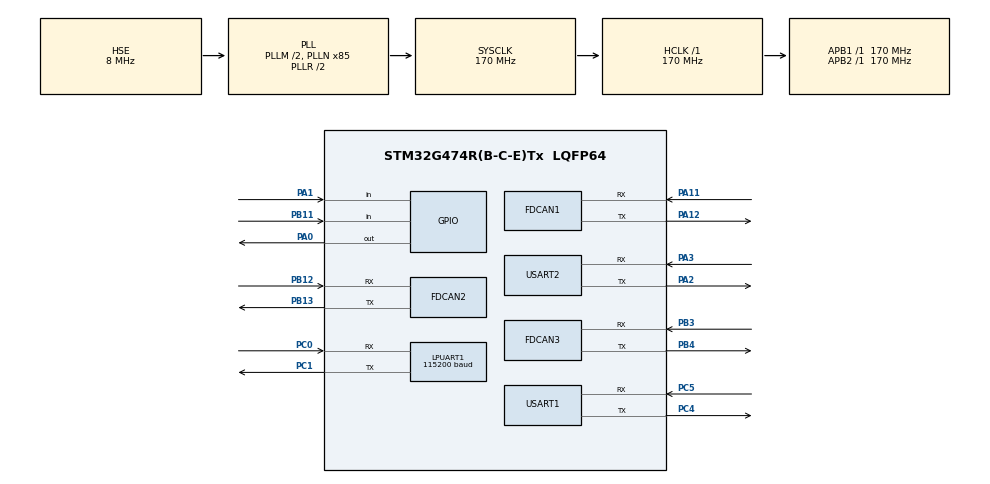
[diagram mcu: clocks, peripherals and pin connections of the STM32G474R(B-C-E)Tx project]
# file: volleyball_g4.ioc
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Dma.Request0=USART2_TX
Dma.Request1=USART2_RX
Dma.USART2_RX.1.Direction=DMA_PERIPH_TO_MEMORY
Dma.USART2_RX.1.EventEnable=DISABLE
Dma.USART2_RX.1.Instance=DMA1_Channel1
Dma.USART2_RX.1.MemDataAlignment=DMA_MDATAALIGN_BYTE
Dma.USART2_RX.1.MemInc=DMA_MINC_ENABLE
Dma.USART2_RX.1.Mode=DMA_NORMAL
Dma.USART2_RX.1.PeriphDataAlignment=DMA_PDATAALIGN_BYTE
Dma.USART2_RX.1.PeriphInc=DMA_PINC_DISABLE
Dma.USART2_RX.1.Polarity=HAL_DMAMUX_REQ_GEN_RISING
Dma.USART2_RX.1.Priority=DMA_PRIORITY_LOW
Dma.USART2_RX.1.RequestNumber=1
Dma.USART2_RX.1.SignalID=NONE
Dma.USART2_RX.1.SyncEnable=DISABLE
Dma.USART2_RX.1.SyncPolarity=HAL_DMAMUX_SYNC_NO_EVENT
Dma.USART2_RX.1.SyncRequestNumber=1
Dma.USART2_RX.1.SyncSignalID=NONE
Dma.USART2_TX.0.Direction=DMA_MEMORY_TO_PERIPH
Dma.USART2_TX.0.EventEnable=DISABLE
Dma.USART2_TX.0.Instance=DMA1_Channel2
Dma.USART2_TX.0.MemDataAlignment=DMA_MDATAALIGN_BYTE
Dma.USART2_TX.0.MemInc=DMA_MINC_ENABLE
Dma.USART2_TX.0.Mode=DMA_NORMAL
Dma.USART2_TX.0.PeriphDataAlignment=DMA_PDATAALIGN_BYTE
Dma.USART2_TX.0.PeriphInc=DMA_PINC_DISABLE
Dma.USART2_TX.0.Polarity=HAL_DMAMUX_REQ_GEN_RISING
Dma.USART2_TX.0.Priority=DMA_PRIORITY_LOW
Dma.USART2_TX.0.RequestNumber=1
Dma.USART2_TX.0.SignalID=NONE
Dma.USART2_TX.0.SyncEnable=DISABLE
Dma.USART2_TX.0.SyncPolarity=HAL_DMAMUX_SYNC_NO_EVENT
Dma.USART2_TX.0.SyncRequestNumber=1
Dma.USART2_TX.0.SyncSignalID=NONE
FDCAN1.AutoRetransmission=ENABLE
FDCAN1.CalculateBaudRateNominal=1000000
FDCAN1.CalculateTimeBitNominal=1000
FDCAN1.CalculateTimeQuantumNominal=100.0
FDCAN1.DataPrescaler=17
FDCAN1.DataTimeSeg1=8
FDCAN1.DataTimeSeg2=3
FDCAN1.FrameFormat=FDCAN_FRAME_FD_NO_BRS
FDCAN1.NominalPrescaler=17
FDCAN1.NominalTimeSeg1=6
FDCAN1.NominalTimeSeg2=3
FDCAN2.AutoRetransmission=ENABLE
FDCAN2.CalculateBaudRateNominal=1000000
FDCAN2.CalculateTimeBitNominal=1000
FDCAN2.CalculateTimeQuantumNominal=100.0
FDCAN2.DataPrescaler=17
FDCAN2.DataTimeSeg1=8
FDCAN2.DataTimeSeg2=3
FDCAN2.NominalPrescaler=17
FDCAN2.NominalTimeSeg1=6
FDCAN2.NominalTimeSeg2=3
FDCAN3.AutoRetransmission=ENABLE
FDCAN3.CalculateBaudRateNominal=1000000
FDCAN3.CalculateTimeBitNominal=1000
FDCAN3.CalculateTimeQuantumNominal=100.0
FDCAN3.DataPrescaler=17
FDCAN3.DataTimeSeg1=8
FDCAN3.DataTimeSeg2=3
FDCAN3.NominalPrescaler=17
FDCAN3.NominalTimeSeg1=6
FDCAN3.NominalTimeSeg2=3
FREERTOS.BinarySemaphores01=BinarySem_BallDetect,Dynamic,NULL,Available
FREERTOS.INCLUDE_pcTaskGetTaskName=1
FREERTOS.INCLUDE_uxTaskGetStackHighWaterMark2=1
FREERTOS.INCLUDE_vTaskCleanUpResources=1
FREERTOS.INCLUDE_xEventGroupSetBitFromISR=1
FREERTOS.INCLUDE_xSemaphoreGetMutexHolder=1
FREERTOS.INCLUDE_xTaskAbortDelay=1
FREERTOS.INCLUDE_xTaskGetHandle=1
FREERTOS.Tasks01=defaultTask,24,256,StartDefaultTask,Default,NULL,Dynamic,NULL,NULL;myTask02,24,256,StartTask02,Default,NULL,Dynamic,NULL,NULL;myTask03,24,256,StartTask03,Default,NULL,Dynamic,NULL,NULL;myTask04,24,256,StartTask04,Default,NULL,Dynamic,NULL,NULL;myTask05,24,512,StartTask05,Default,NULL,Dynamic,NULL,NULL;myTask06,24,256,StartTask06,Default,NULL,Dynamic,NULL,NULL;myTask07,24,256,StartTask07,Default,NULL,Dynamic,NULL,NULL
FREERTOS.configMINIMAL_STACK_SIZE=256
FREERTOS.configTOTAL_HEAP_SIZE=10240
LPUART1.BaudRate=115200
Mcu.Family=STM32G4
Mcu.Name=STM32G474R(B-C-E)Tx
Mcu.Package=LQFP64
NVIC.DMA1_Channel1_IRQn=true\:5\:0\:false\:false\:true\:true\:false\:true\:true
NVIC.DMA1_Channel2_IRQn=true\:5\:0\:false\:false\:true\:true\:false\:true\:true
NVIC.FDCAN1_IT0_IRQn=true\:5\:0\:false\:false\:true\:true\:true\:true\:true
NVIC.FDCAN1_IT1_IRQn=true\:5\:0\:false\:false\:true\:true\:true\:true\:true
NVIC.FDCAN2_IT0_IRQn=true\:5\:0\:false\:false\:true\:true\:true\:true\:true
NVIC.FDCAN2_IT1_IRQn=true\:5\:0\:false\:false\:true\:true\:true\:true\:true
NVIC.FDCAN3_IT0_IRQn=true\:5\:0\:false\:false\:true\:true\:true\:true\:true
NVIC.FDCAN3_IT1_IRQn=true\:5\:0\:false\:false\:true\:true\:true\:true\:true
NVIC.LPUART1_IRQn=true\:5\:0\:false\:false\:true\:true\:true\:true\:true
NVIC.PriorityGroup=NVIC_PRIORITYGROUP_4
NVIC.TIM4_IRQn=true\:15\:0\:false\:false\:true\:false\:false\:true\:true
NVIC.TimeBase=TIM4_IRQn
NVIC.TimeBaseIP=TIM4
NVIC.USART1_IRQn=true\:5\:0\:false\:false\:true\:true\:true\:true\:true
NVIC.USART2_IRQn=true\:5\:0\:false\:false\:true\:true\:true\:true\:true
PA0.GPIO_PuPd=GPIO_PULLUP
PA0.PinState=GPIO_PIN_RESET
PA0.Signal=GPIO_Output
PA1.Signal=GPIO_Input
PA11.Mode=FDCAN_Activate
PA11.Signal=FDCAN1_RX
PA12.Mode=FDCAN_Activate
PA12.Signal=FDCAN1_TX
PA13.Mode=Serial_Wire
PA13.Signal=SYS_JTMS-SWDIO
PA14.Mode=Serial_Wire
PA14.Signal=SYS_JTCK-SWCLK
PA2.Mode=Asynchronous
PA2.Signal=USART2_TX
PA3.Mode=Asynchronous
PA3.Signal=USART2_RX
PB11.GPIO_PuPd=GPIO_PULLUP
PB11.Signal=GPIO_Input
PB12.Mode=FDCAN_Activate
PB12.Signal=FDCAN2_RX
PB13.Mode=FDCAN_Activate
PB13.Signal=FDCAN2_TX
PB3.Mode=FDCAN_Activate
PB3.Signal=FDCAN3_RX
PB4.Mode=FDCAN_Activate
PB4.Signal=FDCAN3_TX
PC0.Mode=Asynchronous
PC0.Signal=LPUART1_RX
PC1.Mode=Asynchronous
PC1.Signal=LPUART1_TX
PC4.Mode=Asynchronous
PC4.Signal=USART1_TX
PC5.Mode=Asynchronous
PC5.Signal=USART1_RX
PF0-OSC_IN.Mode=HSE-External-Oscillator
PF0-OSC_IN.Signal=RCC_OSC_IN
PF1-OSC_OUT.Mode=HSE-External-Oscillator
PF1-OSC_OUT.Signal=RCC_OSC_OUT
ProjectManager.HeapSize=0x200
ProjectManager.StackSize=0x400
ProjectManager.TargetToolchain=CMake
RCC.ADC12Freq_Value=170000000
RCC.ADC345Freq_Value=170000000
RCC.AHBFreq_Value=170000000
RCC.APB1Freq_Value=170000000
RCC.APB1TimFreq_Value=170000000
RCC.APB2Freq_Value=170000000
RCC.APB2TimFreq_Value=170000000
RCC.CortexFreq_Value=170000000
RCC.EXTERNAL_CLOCK_VALUE=12288000
RCC.HCLKFreq_Value=170000000
RCC.HSE_VALUE=8000000
RCC.HSI48_VALUE=48000000
RCC.HSI_VALUE=16000000
RCC.LSE_VALUE=32768
RCC.PLLM=RCC_PLLM_DIV2
RCC.PLLN=85
RCC.PLLSourceVirtual=RCC_PLLSOURCE_HSE
RCC.SYSCLKFreq_VALUE=170000000
RCC.SYSCLKSource=RCC_SYSCLKSOURCE_PLLCLK
RCC.USBFreq_Value=170000000
RCC.VCOOutputFreq_Value=340000000
USART1.FIFOMode=FIFOMODE_DISABLE
USART1.VirtualMode-Asynchronous=VM_ASYNC
USART2.VirtualMode-Asynchronous=VM_ASYNC
VP_FREERTOS_VS_CMSIS_V2.Mode=CMSIS_V2
VP_SYS_VS_DBSignals.Mode=DisableDeadBatterySignals
VP_SYS_VS_tim4.Mode=TIM4
board=custom

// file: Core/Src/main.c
/* USER CODE BEGIN Header */
/**
  ******************************************************************************
  * @file           : main.c
  * @brief          : Main program body
  ******************************************************************************
  * @attention
  *
  * Copyright (c) 2026 STMicroelectronics.
  * All rights reserved.
  *
  * This software is licensed under terms that can be found in the LICENSE file
  * in the root directory of this software component.
  * If no LICENSE file comes with this software, it is provided AS-IS.
  *
  ******************************************************************************
  */
/* USER CODE END Header */
#include "main.h"
#include "cmsis_os.h"
#include "dma.h"
#include "fdcan.h"
#include "usart.h"
#include "gpio.h"

void SystemClock_Config(void);
void MX_FREERTOS_Init(void);

int main(void)
{

  /* MCU Configuration--------------------------------------------------------*/

  /* Reset of all peripherals, Initializes the Flash interface and the Systick. */
  HAL_Init();

  /* Configure the system clock */
  SystemClock_Config();

  /* Initialize all configured peripherals */
  MX_GPIO_Init();
  MX_DMA_Init();
  MX_FDCAN1_Init();
  MX_USART1_UART_Init();
  MX_FDCAN3_Init();
  MX_FDCAN2_Init();
  MX_USART2_UART_Init();
  MX_LPUART1_UART_Init();

  /* Init scheduler */
  osKernelInitialize();  /* Call init function for freertos objects (in cmsis_os2.c) */
  MX_FREERTOS_Init();

  /* Start scheduler */
  osKernelStart();

  /* We should never get here as control is now taken by the scheduler */

  /* Infinite loop */
  while (1)
  {

  }
}

void SystemClock_Config(void)
{
  RCC_OscInitTypeDef RCC_OscInitStruct = {0};
  RCC_ClkInitTypeDef RCC_ClkInitStruct = {0};

  /** Configure the main internal regulator output voltage
  */
  HAL_PWREx_ControlVoltageScaling(PWR_REGULATOR_VOLTAGE_SCALE1_BOOST);

  /** Initializes the RCC Oscillators according to the specified parameters
  * in the RCC_OscInitTypeDef structure.
  */
  RCC_OscInitStruct.OscillatorType = RCC_OSCILLATORTYPE_HSE;
  RCC_OscInitStruct.HSEState = RCC_HSE_ON;
  RCC_OscInitStruct.PLL.PLLState = RCC_PLL_ON;
  RCC_OscInitStruct.PLL.PLLSource = RCC_PLLSOURCE_HSE;
  RCC_OscInitStruct.PLL.PLLM = RCC_PLLM_DIV2;
  RCC_OscInitStruct.PLL.PLLN = 85;
  RCC_OscInitStruct.PLL.PLLP = RCC_PLLP_DIV2;
  RCC_OscInitStruct.PLL.PLLQ = RCC_PLLQ_DIV2;
  RCC_OscInitStruct.PLL.PLLR = RCC_PLLR_DIV2;
  if (HAL_RCC_OscConfig(&RCC_OscInitStruct) != HAL_OK)
  {
    Error_Handler();
  }

  /** Initializes the CPU, AHB and APB buses clocks
  */
  RCC_ClkInitStruct.ClockType = RCC_CLOCKTYPE_HCLK|RCC_CLOCKTYPE_SYSCLK
                              |RCC_CLOCKTYPE_PCLK1|RCC_CLOCKTYPE_PCLK2;
  RCC_ClkInitStruct.SYSCLKSource = RCC_SYSCLKSOURCE_PLLCLK;
  RCC_ClkInitStruct.AHBCLKDivider = RCC_SYSCLK_DIV1;
  RCC_ClkInitStruct.APB1CLKDivider = RCC_HCLK_DIV1;
  RCC_ClkInitStruct.APB2CLKDivider = RCC_HCLK_DIV1;

  if (HAL_RCC_ClockConfig(&RCC_ClkInitStruct, FLASH_LATENCY_4) != HAL_OK)
  {
    Error_Handler();
  }
}

void HAL_TIM_PeriodElapsedCallback(TIM_HandleTypeDef *htim)
{
  if (htim->Instance == TIM4)
  {
    HAL_IncTick();
  }
}

void Error_Handler(void)
{
  __disable_irq();
  while (1)
  {
  }
}

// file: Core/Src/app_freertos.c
/* USER CODE BEGIN Header */
/**
  ******************************************************************************
  * File Name          : app_freertos.c
  * Description        : Code for freertos applications
  ******************************************************************************
  * @attention
  *
  * Copyright (c) 2026 STMicroelectronics.
  * All rights reserved.
  *
  * This software is licensed under terms that can be found in the LICENSE file
  * in the root directory of this software component.
  * If no LICENSE file comes with this software, it is provided AS-IS.
  *
  ******************************************************************************
  */
/* USER CODE END Header */

#include "FreeRTOS.h"
#include "task.h"
#include "main.h"
#include "cmsis_os.h"

/* USER CODE BEGIN Includes */
#include "fdcan_bsp.h"
#include "cybergear_motor.h"
#include "trajectory_planner.h"
#include "chassis_cybergear.h"

/* USER CODE END Includes */

/* USER CODE BEGIN Variables */
static uint8_t s_cybergear_boot_ok = 0U;
static uint8_t s_cybergear_chassis_ready = 0U;

/* USER CODE END Variables */
/* Definitions for defaultTask */
osThreadId_t defaultTaskHandle;
const osThreadAttr_t defaultTask_attributes = {
  .name = "defaultTask",
  .priority = (osPriority_t) osPriorityNormal,
  .stack_size = 256 * 4
};
/* Definitions for myTask02 */
osThreadId_t myTask02Handle;
const osThreadAttr_t myTask02_attributes = {
  .name = "myTask02",
  .priority = (osPriority_t) osPriorityNormal,
  .stack_size = 256 * 4
};
/* Definitions for myTask03 */
osThreadId_t myTask03Handle;
const osThreadAttr_t myTask03_attributes = {
  .name = "myTask03",
  .priority = (osPriority_t) osPriorityNormal,
  .stack_size = 256 * 4
};
/* Definitions for myTask04 */
osThreadId_t myTask04Handle;
const osThreadAttr_t myTask04_attributes = {
  .name = "myTask04",
  .priority = (osPriority_t) osPriorityNormal,
  .stack_size = 256 * 4
};
/* Definitions for myTask05 */
osThreadId_t myTask05Handle;
const osThreadAttr_t myTask05_attributes = {
  .name = "myTask05",
  .priority = (osPriority_t) osPriorityNormal,
  .stack_size = 512 * 4
};
/* Definitions for myTask06 */
osThreadId_t myTask06Handle;
const osThreadAttr_t myTask06_attributes = {
  .name = "myTask06",
  .priority = (osPriority_t) osPriorityNormal,
  .stack_size = 256 * 4
};
/* Definitions for myTask07 */
osThreadId_t myTask07Handle;
const osThreadAttr_t myTask07_attributes = {
  .name = "myTask07",
  .priority = (osPriority_t) osPriorityNormal,
  .stack_size = 256 * 4
};
/* Definitions for BinarySem_BallDetect */
osSemaphoreId_t BinarySem_BallDetectHandle;
const osSemaphoreAttr_t BinarySem_BallDetect_attributes = {
  .name = "BinarySem_BallDetect"
};

void StartDefaultTask(void *argument);
void StartTask02(void *argument);
void StartTask03(void *argument);
void StartTask04(void *argument);
void StartTask05(void *argument);
void StartTask06(void *argument);
void StartTask07(void *argument);

void MX_FREERTOS_Init(void); /* (MISRA C 2004 rule 8.1) */

void MX_FREERTOS_Init(void) {
  /* USER CODE BEGIN Init */
  fdcan_bsp_init();
  cybergear_motors_init();

  fdcan_bsp_start(&hfdcan1);
  fdcan_bsp_start(&hfdcan2);
  fdcan_bsp_start(&hfdcan3);

  if (trajectory_planner_init() == 0)
  {
    s_cybergear_boot_ok = 1U;
  }

  /* USER CODE END Init */

  /* Create the semaphores(s) */
  /* creation of BinarySem_BallDetect */
  BinarySem_BallDetectHandle = osSemaphoreNew(1, 1, &BinarySem_BallDetect_attributes);

  /* Create the thread(s) */
  /* creation of defaultTask */
  defaultTaskHandle = osThreadNew(StartDefaultTask, NULL, &defaultTask_attributes);

  /* creation of myTask02 */
  myTask02Handle = osThreadNew(StartTask02, NULL, &myTask02_attributes);

  /* creation of myTask03 */
  myTask03Handle = osThreadNew(StartTask03, NULL, &myTask03_attributes);

  /* creation of myTask04 */
  myTask04Handle = osThreadNew(StartTask04, NULL, &myTask04_attributes);

  /* creation of myTask05 */
  myTask05Handle = osThreadNew(StartTask05, NULL, &myTask05_attributes);

  /* creation of myTask06 */
  myTask06Handle = osThreadNew(StartTask06, NULL, &myTask06_attributes);

  /* creation of myTask07 */
  myTask07Handle = osThreadNew(StartTask07, NULL, &myTask07_attributes);

}

void StartDefaultTask(void *argument)
{
  /* USER CODE BEGIN StartDefaultTask */
  /* Infinite loop */
  for(;;)
  {
    if (s_cybergear_boot_ok == 1U && s_cybergear_chassis_ready == 0U)
    {
      if (chassis_cybergear_init(0U) == 0)
      {
        s_cybergear_chassis_ready = 1U;
      }
      else
      {
        osDelay(50);
        continue;
      }
    }

    osDelay(1);
  }
  /* USER CODE END StartDefaultTask */
}

void StartTask02(void *argument)
{
  /* USER CODE BEGIN StartTask02 */
  /* Infinite loop */
  for(;;)
  {
    chassis_control(0);
    osDelay(1);
  }
  /* USER CODE END StartTask02 */
}

void StartTask03(void *argument)
{
  for(;;)
  {
    osDelay(1);
  }
}

void StartTask04(void *argument)
{
  for(;;)
  {
    osDelay(1);
  }
}

void StartTask05(void *argument)
{
  for(;;)
  {
    osDelay(1);
  }
}

void StartTask06(void *argument)
{
  for(;;)
  {
    osDelay(1);
  }
}

void StartTask07(void *argument)
{
  for(;;)
  {
    osDelay(1);
  }
}
